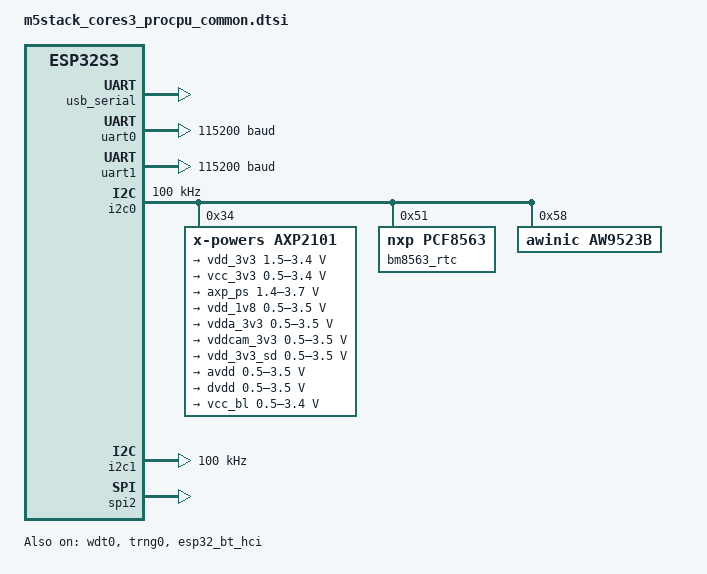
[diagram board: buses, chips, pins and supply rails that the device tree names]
/*
 * Copyright (c) 2024 Zhang Xingtao <zhxt@live.cn>
 *
 * SPDX-License-Identifier: Apache-2.0
 */

#include <espressif/esp32s3/esp32s3_wroom_n16r8.dtsi>
#include <espressif/partitions_0x0_amp.dtsi>
#include "m5stack_cores3-pinctrl.dtsi"
#include "m5stack_mbus_connectors.dtsi"
#include "grove_connectors.dtsi"

/ {
	chosen {
		zephyr,sram = &sram1;
		zephyr,console = &usb_serial;
		zephyr,shell-uart = &usb_serial;
		zephyr,flash = &flash0;
		zephyr,code-partition = &slot0_partition;
		zephyr,rtc = &bm8563_rtc;
		zephyr,bt-hci = &esp32_bt_hci;
	};

	aliases {
		uart-0 = &uart0;
		uart-1 = &uart1;
		uart-2 = &uart2;
		i2c-0 = &i2c0;
		i2c-1 = &i2c1;
		watchdog0 = &wdt0;
		rtc = &bm8563_rtc;
	};
};

&usb_serial {
	status = "okay";
};

&uart0 {
	status = "okay";
	current-speed = <115200>;
	pinctrl-0 = <&uart0_default>;
	pinctrl-names = "default";
};

&uart1 {
	status = "okay";
	current-speed = <115200>;
	pinctrl-0 = <&uart1_default>;
	pinctrl-names = "default";
};

&uart2 {
	status = "disabled";
	current-speed = <115200>;
	pinctrl-0 = <&uart2_default>;
	pinctrl-names = "default";
};

&gpio0 {
	status = "okay";
};

&gpio1 {
	status = "okay";
};

&i2c0 {
	status = "okay";
	clock-frequency = <I2C_BITRATE_STANDARD>;
	pinctrl-0 = <&i2c0_default>;
	pinctrl-names = "default";

	axp2101@34 {
		compatible = "x-powers,axp2101";
		reg = <0x34>;
		status = "okay";

		axp2101_regulator: axp2101_regulator {
			compatible = "x-powers,axp2101-regulator";
			status = "okay";

			vdd_3v3: DCDC1 {
				regulator-min-microvolt = <1500000>;
				regulator-max-microvolt = <3400000>;
				status = "okay";
			};

			vcc_3v3: DCDC3 {
				regulator-min-microvolt = <500000>;
				regulator-max-microvolt = <3400000>;
				status = "okay";
			};

			axp_ps: DCDC5 {
				regulator-min-microvolt = <1400000>;
				regulator-max-microvolt = <3700000>;
				status = "okay";
			};

			vdd_1v8: ALDO1 {
				regulator-min-microvolt = <500000>;
				regulator-max-microvolt = <3500000>;
				status = "okay";
			};

			vdda_3v3: ALDO2 {
				regulator-min-microvolt = <500000>;
				regulator-max-microvolt = <3500000>;
				status = "okay";
			};

			vddcam_3v3: ALDO3 {
				regulator-min-microvolt = <500000>;
				regulator-max-microvolt = <3500000>;
				status = "okay";
			};

			vdd_3v3_sd: ALDO4 {
				regulator-min-microvolt = <500000>;
				regulator-max-microvolt = <3500000>;
				status = "okay";
			};

			avdd: BLDO1 {
				regulator-min-microvolt = <500000>;
				regulator-max-microvolt = <3500000>;
				status = "okay";
			};

			dvdd: BLDO2 {
				regulator-min-microvolt = <500000>;
				regulator-max-microvolt = <3500000>;
				status = "okay";
			};

			vcc_bl: DLDO1 {
				regulator-min-microvolt = <500000>;
				regulator-max-microvolt = <3400000>;
				status = "okay";
			};
		};
	};

	bm8563_rtc: bm8563@51 {
		compatible = "nxp,pcf8563";
		reg = <0x51>;
		status = "okay";
	};

	aw9523b@58 {
		compatible = "awinic,aw9523b";
		reg = <0x58>;
		status = "okay";

		aw9523b_gpio: gpio {
			compatible = "awinic,aw9523b-gpio";
			gpio-controller;
			#gpio-cells = <2>;
			port0-push-pull;
			int-gpios = <&gpio0 21 GPIO_ACTIVE_LOW>;
		};
	};
};

&i2c1 {
	status = "okay";
	clock-frequency = <I2C_BITRATE_STANDARD>;
	pinctrl-0 = <&i2c1_default>;
	pinctrl-names = "default";
};

&spi2 {
	status = "okay";
	#address-cells = <1>;
	#size-cells = <0>;
	status = "okay";
	pinctrl-0 = <&spim2_default>;
	pinctrl-names = "default";
};

&twai {
	status = "disabled";
	pinctrl-0 = <&twai_default>;
	pinctrl-names = "default";
};

&wdt0 {
	status = "okay";
};

&trng0 {
	status = "okay";
};

&esp32_bt_hci {
	status = "okay";
};
